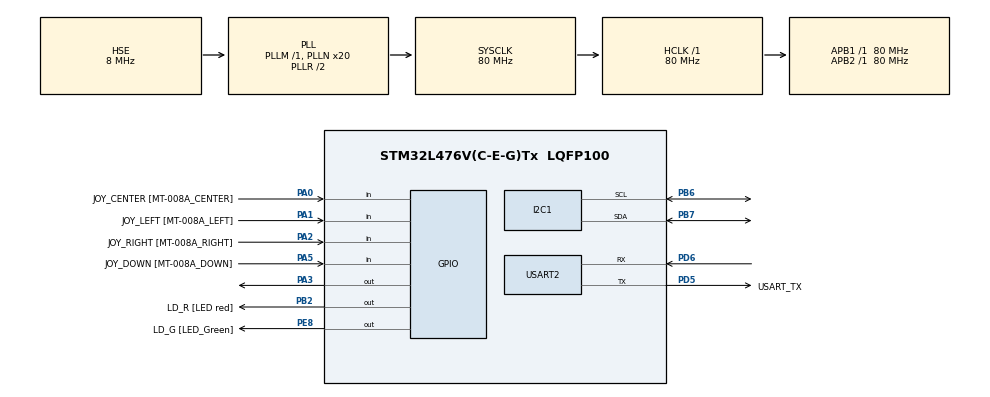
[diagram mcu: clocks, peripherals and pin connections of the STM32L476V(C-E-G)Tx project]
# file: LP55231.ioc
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I2C1.Timeout=0x000083D0
I2C1.Timing=0x10909CEC
Mcu.Family=STM32L4
Mcu.Name=STM32L476V(C-E-G)Tx
Mcu.Package=LQFP100
NVIC.PriorityGroup=NVIC_PRIORITYGROUP_4
PA0.GPIO_Label=JOY_CENTER [MT-008A_CENTER]
PA0.GPIO_Mode=GPIO_MODE_INPUT
PA0.GPIO_PuPd=GPIO_PULLDOWN
PA0.Signal=GPIO_Input
PA1.GPIO_Label=JOY_LEFT [MT-008A_LEFT]
PA1.GPIO_Mode=GPIO_MODE_INPUT
PA1.GPIO_PuPd=GPIO_PULLDOWN
PA1.Signal=GPIO_Input
PA2.GPIO_Label=JOY_RIGHT [MT-008A_RIGHT]
PA2.GPIO_Mode=GPIO_MODE_INPUT
PA2.GPIO_PuPd=GPIO_PULLDOWN
PA2.Signal=GPIO_Input
PA3.Signal=GPIO_Output
PA5.GPIO_Label=JOY_DOWN [MT-008A_DOWN]
PA5.GPIO_Mode=GPIO_MODE_INPUT
PA5.GPIO_PuPd=GPIO_PULLDOWN
PA5.Signal=GPIO_Input
PB2.GPIO_Label=LD_R [LED red]
PB2.GPIO_ModeDefaultOutputPP=GPIO_MODE_OUTPUT_PP
PB2.GPIO_PuPd=GPIO_PULLUP
PB2.GPIO_Speed=GPIO_SPEED_FREQ_VERY_HIGH
PB2.Signal=GPIO_Output
PB6.Mode=I2C
PB6.Signal=I2C1_SCL
PB7.Mode=I2C
PB7.Signal=I2C1_SDA
PC14-OSC32_IN\ (PC14).Mode=LSE-External-Oscillator
PC14-OSC32_IN\ (PC14).Signal=RCC_OSC32_IN
PC15-OSC32_OUT\ (PC15).Mode=LSE-External-Oscillator
PC15-OSC32_OUT\ (PC15).Signal=RCC_OSC32_OUT
PD5.GPIO_Label=USART_TX
PD5.GPIO_Mode=GPIO_MODE_AF_PP
PD5.GPIO_PuPd=GPIO_PULLUP
PD5.GPIO_Speed=GPIO_SPEED_FREQ_VERY_HIGH
PD5.Mode=Asynchronous
PD5.Signal=USART2_TX
PD6.Mode=Asynchronous
PD6.Signal=USART2_RX
PE8.GPIO_Label=LD_G [LED_Green]
PE8.GPIO_ModeDefaultOutputPP=GPIO_MODE_OUTPUT_PP
PE8.GPIO_PuPd=GPIO_PULLUP
PE8.GPIO_Speed=GPIO_SPEED_FREQ_VERY_HIGH
PE8.Signal=GPIO_Output
PH0-OSC_IN\ (PH0).Mode=HSE-External-Oscillator
PH0-OSC_IN\ (PH0).Signal=RCC_OSC_IN
PH1-OSC_OUT\ (PH1).Mode=HSE-External-Oscillator
PH1-OSC_OUT\ (PH1).Signal=RCC_OSC_OUT
ProjectManager.HeapSize=0x200
ProjectManager.StackSize=0x400
ProjectManager.TargetToolchain=STM32CubeIDE
RCC.ADCFreq_Value=96000000
RCC.AHBFreq_Value=80000000
RCC.APB1Freq_Value=80000000
RCC.APB1TimFreq_Value=80000000
RCC.APB2Freq_Value=80000000
RCC.APB2TimFreq_Value=80000000
RCC.CortexFreq_Value=80000000
RCC.HCLKFreq_Value=80000000
RCC.HSE_VALUE=8000000
RCC.HSI_VALUE=16000000
RCC.MSI_VALUE=4000000
RCC.PLLN=20
RCC.PLLSAI1N=24
RCC.PLLSourceVirtual=RCC_PLLSOURCE_HSE
RCC.PREFETCH_ENABLE=1
RCC.SYSCLKFreq_VALUE=80000000
RCC.SYSCLKSource=RCC_SYSCLKSOURCE_PLLCLK
RCC.USBFreq_Value=96000000
RCC.VCOOutputFreq_Value=160000000
USART2.VirtualMode-Asynchronous=VM_ASYNC
board=STM32L476G-DISCO

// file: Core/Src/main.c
/* USER CODE BEGIN Header */
/**
  ******************************************************************************
  * @file           : main.c
  * @brief          : Main program body
  ******************************************************************************
  * @attention
  *
  * <h2><center>&copy; Copyright (c) 2020 STMicroelectronics.
  * All rights reserved.</center></h2>
  *
  * This software component is licensed by ST under Ultimate Liberty license
  * SLA0044, the "License"; You may not use this file except in compliance with
  * the License. You may obtain a copy of the License at:
  *                             www.st.com/SLA0044
  *
  ******************************************************************************
  */
/* USER CODE END Header */

#include "main.h"

/* USER CODE BEGIN Includes */
#include "stm32l476xx.h"
#include <string.h>
#include <stdio.h>
#include <time.h>
#include <stdbool.h>

#include "lp55231.h"
#include "recipes.h"
/* USER CODE END Includes */

/* USER CODE BEGIN PD */
#define NEWLINE_STRING "\r\n"

/* USER CODE END PD */

I2C_HandleTypeDef hi2c1;

UART_HandleTypeDef huart2;

/* USER CODE BEGIN PV */
/* Global variables used for loop timing and printing on terminal */
char g_msg[50];
/* USER CODE END PV */

void SystemClock_Config(void);
static void MX_GPIO_Init(void);
static void MX_USART2_UART_Init(void);
static void MX_I2C1_Init(void);
/* USER CODE BEGIN PFP */
void output_string(char output[], int size);

/* USER CODE END PFP */

int main(void)
{

  /* MCU Configuration--------------------------------------------------------*/

  /* Reset of all peripherals, Initializes the Flash interface and the Systick. */
  HAL_Init();

  /* Configure the system clock */
  SystemClock_Config();

  /* Initialize all configured peripherals */
  MX_GPIO_Init();
  MX_USART2_UART_Init();
  MX_I2C1_Init();
  /* USER CODE BEGIN 2 */

  Reset();
  Enable();
  LP55231_Init();
  POST();

  /* USER CODE END 2 */

  /* Infinite loop */
  /* USER CODE BEGIN WHILE */
  while (1)
  {
	  /* Demo Recipes */
	  Google_Home_Mini_Search_Animation();
	  Master_Fader();
	  HAL_Delay(1000);
    /* USER CODE END WHILE */

  }
}

void SystemClock_Config(void)
{
  RCC_OscInitTypeDef RCC_OscInitStruct = {0};
  RCC_ClkInitTypeDef RCC_ClkInitStruct = {0};
  RCC_PeriphCLKInitTypeDef PeriphClkInit = {0};

  /** Initializes the CPU, AHB and APB busses clocks
  */
  RCC_OscInitStruct.OscillatorType = RCC_OSCILLATORTYPE_HSE;
  RCC_OscInitStruct.HSEState = RCC_HSE_ON;
  RCC_OscInitStruct.PLL.PLLState = RCC_PLL_ON;
  RCC_OscInitStruct.PLL.PLLSource = RCC_PLLSOURCE_HSE;
  RCC_OscInitStruct.PLL.PLLM = 1;
  RCC_OscInitStruct.PLL.PLLN = 20;
  RCC_OscInitStruct.PLL.PLLP = RCC_PLLP_DIV7;
  RCC_OscInitStruct.PLL.PLLQ = RCC_PLLQ_DIV2;
  RCC_OscInitStruct.PLL.PLLR = RCC_PLLR_DIV2;
  if (HAL_RCC_OscConfig(&RCC_OscInitStruct) != HAL_OK)
  {
    Error_Handler();
  }
  /** Initializes the CPU, AHB and APB busses clocks
  */
  RCC_ClkInitStruct.ClockType = RCC_CLOCKTYPE_HCLK|RCC_CLOCKTYPE_SYSCLK
                              |RCC_CLOCKTYPE_PCLK1|RCC_CLOCKTYPE_PCLK2;
  RCC_ClkInitStruct.SYSCLKSource = RCC_SYSCLKSOURCE_PLLCLK;
  RCC_ClkInitStruct.AHBCLKDivider = RCC_SYSCLK_DIV1;
  RCC_ClkInitStruct.APB1CLKDivider = RCC_HCLK_DIV1;
  RCC_ClkInitStruct.APB2CLKDivider = RCC_HCLK_DIV1;

  if (HAL_RCC_ClockConfig(&RCC_ClkInitStruct, FLASH_LATENCY_4) != HAL_OK)
  {
    Error_Handler();
  }
  PeriphClkInit.PeriphClockSelection = RCC_PERIPHCLK_USART2|RCC_PERIPHCLK_I2C1;
  PeriphClkInit.Usart2ClockSelection = RCC_USART2CLKSOURCE_PCLK1;
  PeriphClkInit.I2c1ClockSelection = RCC_I2C1CLKSOURCE_PCLK1;
  if (HAL_RCCEx_PeriphCLKConfig(&PeriphClkInit) != HAL_OK)
  {
    Error_Handler();
  }
  /** Configure the main internal regulator output voltage
  */
  if (HAL_PWREx_ControlVoltageScaling(PWR_REGULATOR_VOLTAGE_SCALE1) != HAL_OK)
  {
    Error_Handler();
  }
}

static void MX_I2C1_Init(void)
{

  hi2c1.Instance = I2C1;
  hi2c1.Init.Timing = 0x10909CEC;
  hi2c1.Init.OwnAddress1 = 0;
  hi2c1.Init.AddressingMode = I2C_ADDRESSINGMODE_7BIT;
  hi2c1.Init.DualAddressMode = I2C_DUALADDRESS_DISABLE;
  hi2c1.Init.OwnAddress2 = 0;
  hi2c1.Init.OwnAddress2Masks = I2C_OA2_NOMASK;
  hi2c1.Init.GeneralCallMode = I2C_GENERALCALL_DISABLE;
  hi2c1.Init.NoStretchMode = I2C_NOSTRETCH_DISABLE;
  if (HAL_I2C_Init(&hi2c1) != HAL_OK)
  {
    Error_Handler();
  }
  /** Configure Analogue filter
  */
  if (HAL_I2CEx_ConfigAnalogFilter(&hi2c1, I2C_ANALOGFILTER_ENABLE) != HAL_OK)
  {
    Error_Handler();
  }
  /** Configure Digital filter
  */
  if (HAL_I2CEx_ConfigDigitalFilter(&hi2c1, 0) != HAL_OK)
  {
    Error_Handler();
  }

}

static void MX_USART2_UART_Init(void)
{

  huart2.Instance = USART2;
  huart2.Init.BaudRate = 115200;
  huart2.Init.WordLength = UART_WORDLENGTH_8B;
  huart2.Init.StopBits = UART_STOPBITS_1;
  huart2.Init.Parity = UART_PARITY_NONE;
  huart2.Init.Mode = UART_MODE_TX_RX;
  huart2.Init.HwFlowCtl = UART_HWCONTROL_NONE;
  huart2.Init.OverSampling = UART_OVERSAMPLING_16;
  huart2.Init.OneBitSampling = UART_ONE_BIT_SAMPLE_DISABLE;
  huart2.AdvancedInit.AdvFeatureInit = UART_ADVFEATURE_NO_INIT;
  if (HAL_UART_Init(&huart2) != HAL_OK)
  {
    Error_Handler();
  }

}

static void MX_GPIO_Init(void)
{
  GPIO_InitTypeDef GPIO_InitStruct = {0};

  /* GPIO Ports Clock Enable */
  __HAL_RCC_GPIOC_CLK_ENABLE();
  __HAL_RCC_GPIOH_CLK_ENABLE();
  __HAL_RCC_GPIOA_CLK_ENABLE();
  __HAL_RCC_GPIOB_CLK_ENABLE();
  __HAL_RCC_GPIOE_CLK_ENABLE();
  __HAL_RCC_GPIOD_CLK_ENABLE();

  /*Configure GPIO pin Output Level */
  HAL_GPIO_WritePin(GPIOA, GPIO_PIN_3, GPIO_PIN_RESET);

  /*Configure GPIO pin Output Level */
  HAL_GPIO_WritePin(LD_R_GPIO_Port, LD_R_Pin, GPIO_PIN_RESET);

  /*Configure GPIO pin Output Level */
  HAL_GPIO_WritePin(LD_G_GPIO_Port, LD_G_Pin, GPIO_PIN_RESET);

  /*Configure GPIO pins : JOY_CENTER_Pin JOY_LEFT_Pin JOY_RIGHT_Pin JOY_DOWN_Pin */
  GPIO_InitStruct.Pin = JOY_CENTER_Pin|JOY_LEFT_Pin|JOY_RIGHT_Pin|JOY_DOWN_Pin;
  GPIO_InitStruct.Mode = GPIO_MODE_INPUT;
  GPIO_InitStruct.Pull = GPIO_PULLDOWN;
  HAL_GPIO_Init(GPIOA, &GPIO_InitStruct);

  /*Configure GPIO pin : PA3 */
  GPIO_InitStruct.Pin = GPIO_PIN_3;
  GPIO_InitStruct.Mode = GPIO_MODE_OUTPUT_PP;
  GPIO_InitStruct.Pull = GPIO_NOPULL;
  GPIO_InitStruct.Speed = GPIO_SPEED_FREQ_LOW;
  HAL_GPIO_Init(GPIOA, &GPIO_InitStruct);

  /*Configure GPIO pin : LD_R_Pin */
  GPIO_InitStruct.Pin = LD_R_Pin;
  GPIO_InitStruct.Mode = GPIO_MODE_OUTPUT_PP;
  GPIO_InitStruct.Pull = GPIO_PULLUP;
  GPIO_InitStruct.Speed = GPIO_SPEED_FREQ_VERY_HIGH;
  HAL_GPIO_Init(LD_R_GPIO_Port, &GPIO_InitStruct);

  /*Configure GPIO pin : LD_G_Pin */
  GPIO_InitStruct.Pin = LD_G_Pin;
  GPIO_InitStruct.Mode = GPIO_MODE_OUTPUT_PP;
  GPIO_InitStruct.Pull = GPIO_PULLUP;
  GPIO_InitStruct.Speed = GPIO_SPEED_FREQ_VERY_HIGH;
  HAL_GPIO_Init(LD_G_GPIO_Port, &GPIO_InitStruct);

}

/* USER CODE BEGIN 4 */
/*
* @brief Transmit a message / variable values over UART.
* @param output: The message to transmit.
* @param size: Size of message.
* @retval None
*/
void output_string(char output[], int size)
{
  HAL_UART_Transmit(&huart2, (uint8_t *)NEWLINE_STRING, sizeof(NEWLINE_STRING), 1000);
  HAL_UART_Transmit(&huart2, (uint8_t *)output, size, 1000);
}
/* USER CODE END 4 */

void Error_Handler(void)
{
}

/************************ (C) COPYRIGHT STMicroelectronics *****END OF FILE****/
